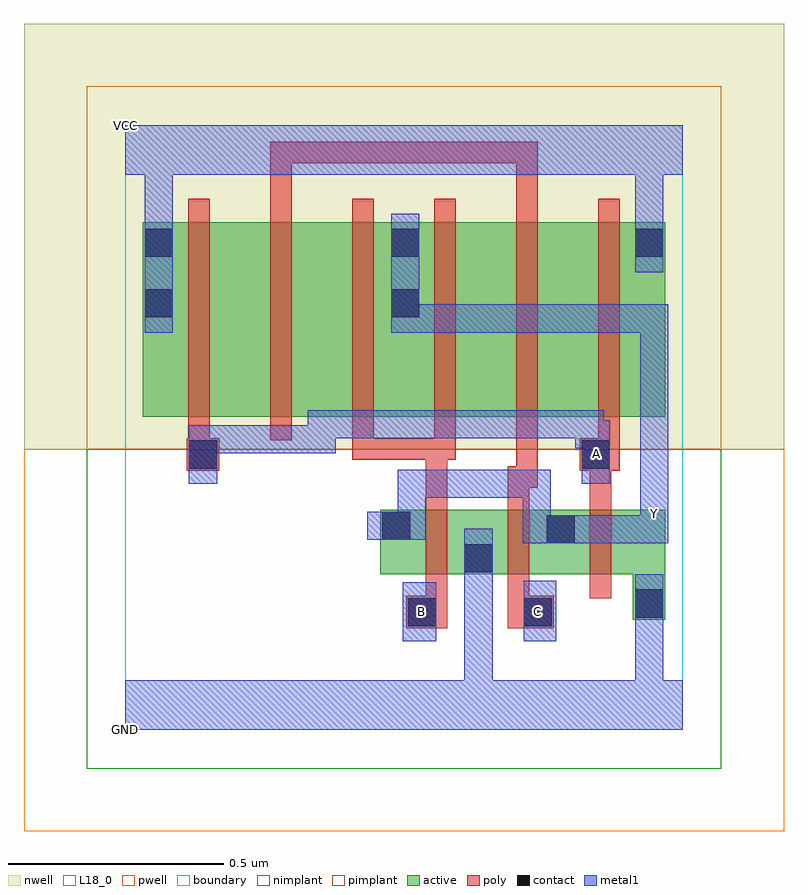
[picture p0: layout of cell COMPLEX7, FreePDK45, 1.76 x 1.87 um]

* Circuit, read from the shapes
.subckt COMPLEX7 A B C GND VCC Y
M1 GND B Y VSUBS nfet w=0.15u l=0.05u
M2 Y C GND VSUBS nfet w=0.15u l=0.05u
M3 GND A Y VSUBS nfet w=0.15u l=0.05u
M4 n1 A VCC n2 pfet w=0.45u l=0.05u
M5 n3 C n1 n2 pfet w=0.45u l=0.05u
M6 Y B n3 n2 pfet w=0.45u l=0.05u
M7 n4 B Y n2 pfet w=0.45u l=0.05u
M8 n5 C n4 n2 pfet w=0.45u l=0.05u
M9 VCC A n5 n2 pfet w=0.45u l=0.05u
.ends

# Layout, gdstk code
import gdstk
lib = gdstk.Library(unit=1e-6, precision=1e-09)
def R(c, l, rs):  # rectangles x0, y0, x1, y1
    for r in rs: c.add(gdstk.rectangle(r[:2], r[2:], *l))
def A(c, l, x, y, w, h, nx, ny, dx, dy):  # array of equal rectangles
    R(c, l, [(x+i*dx, y+j*dy, x+i*dx+w, y+j*dy+h) for i in range(nx) for j in range(ny)])
active = (1, 0)
pwell = (2, 0)
nwell = (3, 0)
nimplant = (4, 0)
pimplant = (5, 0)
poly = (9, 0)
contact = (10, 0)
metal1 = (11, 0)
L18_0 = (18, 0)
boundary = (235, 0)

complex7 = lib.new_cell('COMPLEX7')
R(complex7, active, [(1.175,0.255,1.25,0.51), (0.59,0.36,0.855,0.51), (0.78,0.36,1.045,0.51), (0.78,0.36,0.855,0.475), (0.97,0.36,1.25,0.51), (0.97,0.36,1.045,0.502), (0.59,0.432,0.665,0.51), (0.04,0.725,0.265,1.175), (0.04,0.725,0.115,1.175), (0.265,0.725,0.455,1.175), (0.455,0.725,0.685,1.175), (0.61,0.725,0.835,1.175), (0.61,0.725,0.685,1.175), (0.835,0.725,1.025,1.175), (1.025,0.725,1.25,1.175), (1.175,0.855,1.25,1.175)])
R(complex7, pwell, [(-0.235,-0.235,1.525,0.65)])
R(complex7, nwell, [(-0.235,0.65,1.525,1.635)])
R(complex7, nimplant, [(-0.09,-0.09,1.38,0.65)])
R(complex7, pimplant, [(-0.09,0.65,1.38,1.49)])
A(complex7, poly, 0.695, 0.305, 0.05, 0.26, 3, 1, 0.19, 0)
A(complex7, poly, 0.145, 0.67, 0.05, 0.56, 6, 1, 0.19, 0)
R(complex7, poly, [(0.65,0.235,0.745,0.31), (0.885,0.235,0.992,0.31), (0.695,0.26,0.745,0.355), (0.885,0.26,0.935,0.355), (0.695,0.515,0.745,0.675), (0.885,0.515,0.935,0.61), (1.075,0.515,1.125,0.65), (0.885,0.56,0.955,0.61), (0.905,0.56,0.955,0.72), (0.142,0.6,0.217,0.675), (1.052,0.6,1.145,0.675), (0.145,0.625,0.195,0.72), (0.525,0.625,0.575,0.72), (0.525,0.625,0.575,0.675), (0.525,0.625,0.575,0.675), (0.525,0.625,0.575,0.675), (0.525,0.625,0.745,0.675), (0.695,0.625,0.765,0.675), (0.715,0.625,0.765,0.72), (1.095,0.625,1.145,0.72), (0.335,1.18,0.385,1.362), (0.905,1.18,0.955,1.362), (0.335,1.312,0.385,1.362), (0.335,1.312,0.385,1.362), (0.335,1.312,0.385,1.362), (0.335,1.312,0.555,1.362), (0.505,1.312,0.555,1.362), (0.505,1.312,0.555,1.362), (0.505,1.312,0.555,1.362), (0.505,1.312,0.802,1.362), (0.752,1.312,0.955,1.362), (0.752,1.312,0.802,1.362), (0.752,1.312,0.802,1.362), (0.752,1.312,0.802,1.362), (0.905,1.312,0.955,1.362)])
R(complex7, contact, [(0.655,0.24,0.72,0.305), (0.922,0.24,0.987,0.305), (1.18,0.26,1.245,0.325), (0.785,0.365,0.85,0.43), (0.975,0.432,1.04,0.497), (0.595,0.44,0.66,0.505), (0.147,0.605,0.212,0.67), (1.057,0.605,1.122,0.67), (0.045,0.955,0.11,1.02), (0.615,0.955,0.68,1.02), (0.045,1.095,0.11,1.16), (0.615,1.095,0.68,1.16), (1.18,1.095,1.245,1.16)])
R(complex7, metal1, [(0,0,1.29,0.115), (0.785,0.05,0.85,0.115), (0.785,0.05,0.85,0.115), (0.785,0.05,0.85,0.115), (0.785,0.05,0.85,0.115), (0.785,0.05,0.85,0.115), (0.785,0.05,0.85,0.115), (0.785,0.05,0.85,0.395), (1.18,0.05,1.245,0.29), (0.642,0.205,0.72,0.342), (0.922,0.205,0.997,0.345), (1.18,0.225,1.245,0.29), (1.18,0.225,1.245,0.29), (1.18,0.225,1.245,0.29), (1.18,0.225,1.245,0.29), (1.18,0.225,1.245,0.29), (1.18,0.225,1.245,0.29), (1.18,0.225,1.245,0.36), (0.785,0.33,0.85,0.465), (0.92,0.432,1.005,0.497), (0.92,0.432,0.985,0.602), (0.94,0.432,1.075,0.497), (1.01,0.432,1.257,0.497), (1.192,0.432,1.257,0.497), (1.192,0.432,1.257,0.497), (1.192,0.432,1.257,0.497), (1.192,0.432,1.257,0.497), (1.192,0.432,1.257,0.567), (0.56,0.44,0.695,0.505), (0.63,0.44,0.695,0.505), (0.63,0.44,0.695,0.602), (1.192,0.502,1.257,0.985), (0.63,0.537,0.832,0.602), (0.767,0.537,0.832,0.602), (0.767,0.537,0.985,0.602), (0.147,0.57,0.212,0.705), (1.057,0.57,1.122,0.717), (0.147,0.64,0.212,0.705), (0.147,0.64,0.212,0.705), (0.147,0.64,0.35,0.705), (0.285,0.64,0.35,0.705), (0.285,0.64,0.487,0.705), (0.422,0.64,0.487,0.705), (0.422,0.64,0.487,0.705), (0.422,0.64,0.487,0.74), (1.042,0.652,1.122,0.717), (1.042,0.652,1.107,0.74), (0.422,0.675,0.625,0.74), (0.56,0.675,0.625,0.74), (0.56,0.675,0.625,0.74), (0.56,0.675,0.625,0.74), (0.56,0.675,0.857,0.74), (0.792,0.675,0.857,0.74), (0.792,0.675,0.857,0.74), (0.792,0.675,0.857,0.74), (0.792,0.675,1.107,0.74), (0.045,0.92,0.11,1.195), (0.615,0.92,0.68,0.985), (0.615,0.92,0.68,0.985), (0.615,0.92,0.857,0.985), (0.615,0.92,0.68,1.195), (0.792,0.92,0.857,0.985), (0.792,0.92,0.857,0.985), (0.792,0.92,0.857,0.985), (0.792,0.92,1.107,0.985), (1.042,0.92,1.107,0.985), (1.042,0.92,1.122,0.985), (1.057,0.92,1.122,0.985), (1.057,0.92,1.257,0.985), (1.192,0.92,1.257,0.985), (1.18,1.06,1.245,1.195), (0.045,1.13,0.11,1.35), (1.18,1.13,1.245,1.35), (0,1.285,1.29,1.4), (0.045,1.285,0.11,1.35), (0.045,1.285,0.11,1.35), (1.18,1.285,1.245,1.35), (1.18,1.285,1.245,1.35)])
R(complex7, L18_0, [(0,0,1.29,0.115), (0.785,0.05,0.85,0.115), (0.785,0.05,0.85,0.115), (0.785,0.05,0.85,0.115), (0.785,0.05,0.85,0.115), (0.785,0.05,0.85,0.115), (0.785,0.05,0.85,0.115), (0.785,0.05,0.85,0.395), (1.18,0.05,1.245,0.29), (0.642,0.205,0.72,0.342), (0.922,0.205,0.997,0.345), (1.18,0.225,1.245,0.29), (1.18,0.225,1.245,0.29), (1.18,0.225,1.245,0.29), (1.18,0.225,1.245,0.29), (1.18,0.225,1.245,0.29), (1.18,0.225,1.245,0.29), (1.18,0.225,1.245,0.36), (0.652,0.242,0.717,0.307), (0.922,0.242,0.987,0.307), (0.785,0.33,0.85,0.465), (0.92,0.432,0.985,0.602), (0.92,0.432,1.005,0.497), (0.94,0.432,1.075,0.497), (1.01,0.432,1.257,0.497), (1.192,0.432,1.257,0.497), (1.192,0.432,1.257,0.497), (1.192,0.432,1.257,0.497), (1.192,0.432,1.257,0.497), (1.192,0.432,1.257,0.567), (0.56,0.44,0.695,0.505), (0.63,0.44,0.695,0.505), (0.63,0.44,0.695,0.602), (1.192,0.467,1.257,0.532), (1.192,0.502,1.257,0.985), (0.63,0.537,0.832,0.602), (0.767,0.537,0.832,0.602), (0.767,0.537,0.985,0.602), (0.147,0.57,0.212,0.705), (1.057,0.57,1.122,0.717), (1.057,0.607,1.122,0.672), (0.147,0.64,0.212,0.705), (0.147,0.64,0.212,0.705), (0.147,0.64,0.35,0.705), (0.285,0.64,0.35,0.705), (0.285,0.64,0.487,0.705), (0.422,0.64,0.487,0.705), (0.422,0.64,0.487,0.705), (0.422,0.64,0.487,0.74), (1.042,0.652,1.107,0.74), (1.042,0.652,1.122,0.717), (0.422,0.675,0.625,0.74), (0.56,0.675,0.625,0.74), (0.56,0.675,0.625,0.74), (0.56,0.675,0.625,0.74), (0.56,0.675,0.857,0.74), (0.792,0.675,0.857,0.74), (0.792,0.675,0.857,0.74), (0.792,0.675,0.857,0.74), (0.792,0.675,1.107,0.74), (0.045,0.92,0.11,1.195), (0.615,0.92,0.68,1.195), (0.615,0.92,0.68,0.985), (0.615,0.92,0.68,0.985), (0.615,0.92,0.857,0.985), (0.792,0.92,0.857,0.985), (0.792,0.92,0.857,0.985), (0.792,0.92,0.857,0.985), (0.792,0.92,1.107,0.985), (1.042,0.92,1.107,0.985), (1.042,0.92,1.122,0.985), (1.057,0.92,1.122,0.985), (1.057,0.92,1.257,0.985), (1.192,0.92,1.257,0.985), (1.18,1.06,1.245,1.195), (0.045,1.13,0.11,1.35), (1.18,1.13,1.245,1.35), (0,1.285,1.29,1.4), (0.045,1.285,0.11,1.35), (0.045,1.285,0.11,1.35), (1.18,1.285,1.245,1.35), (1.18,1.285,1.245,1.35)])
R(complex7, boundary, [(0,0,1.29,1.4)])
complex7.add(gdstk.Label('A', (1.09,0.64), layer=11, texttype=0))
complex7.add(gdstk.Label('B', (0.685,0.275), layer=11, texttype=0))
complex7.add(gdstk.Label('C', (0.955,0.275), layer=11, texttype=0))
complex7.add(gdstk.Label('Y', (1.225,0.5), layer=11, texttype=0))
complex7.add(gdstk.Label('VCC', (0,1.4), layer=11, texttype=0))
complex7.add(gdstk.Label('GND', (0,0), layer=11, texttype=0))

lib.write_gds('COMPLEX7.gds')
